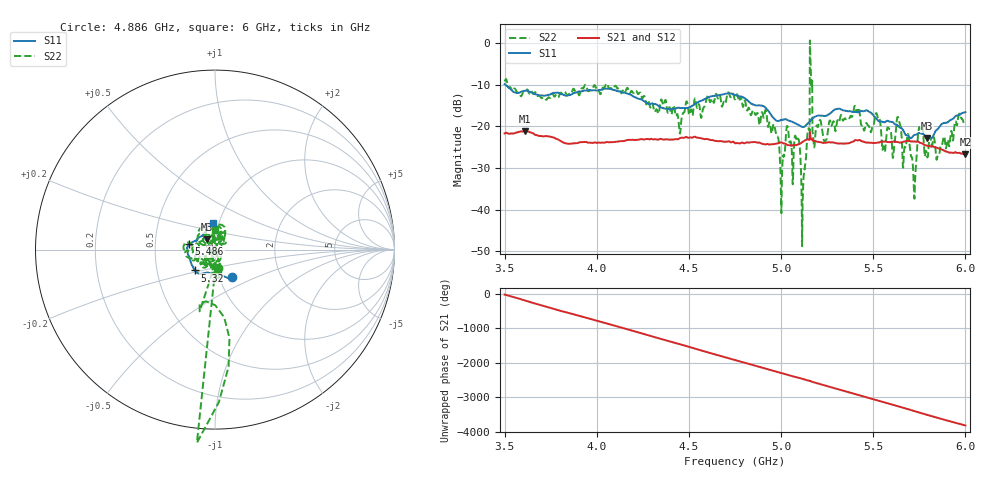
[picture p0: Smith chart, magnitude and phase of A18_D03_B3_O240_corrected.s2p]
! Created with skrf 1.9.0 (http://scikit-rf.org).
# Hz S RI R 50.0
!freq ReS11 ImS11 ReS21 ImS21 ReS12 ImS12 ReS22 ImS22
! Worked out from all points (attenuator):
!   1601 points, 3.5 GHz to 6 GHz, reference 50 ohm
!   highest |S21| = -21.15 dB at 3.611 GHz (marker M1); lowest = -26.7 dB at 6 GHz (marker M2)
!   lowest |S11| = -22.8 dB at 5.791 GHz (marker M3), VSWR 1.16, Z = 45.5 + j5.25 ohm
!   |S11| at or under -10 dB: 3.506 GHz to end of sweep
!   |S22| runs from -48.8 to 0.7 dB; largest |S21 - S12| = 0.001
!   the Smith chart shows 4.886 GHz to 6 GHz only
!   S11 on the Smith chart (normalised r, x): 4.886 GHz: 1.14, -0.36; 5.32 GHz: 0.78, -0.19; 5.486 GHz: 0.75, +0.05; 6 GHz: 0.94, +0.29
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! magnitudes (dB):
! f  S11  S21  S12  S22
! 3.5 GHz  -9.8  -21.7  -21.7  -9.2
! 3.611 GHz  -11.4  -21.2  -21.2  -11.8
! 3.917 GHz  -11.6  -23.8  -23.8  -10.9
! 4.334 GHz  -15.1  -23.2  -23.1  -16.9
! 4.75 GHz  -12.4  -24.0  -23.9  -13.5
! 4.886 GHz  -14.9  -24.0  -23.9  -19.5
! 4.969 GHz  -18.4  -24.2  -24.1  -21.0
! 5.005 GHz  -18.4  -23.9  -23.9  -32.0
! 5.034 GHz  -18.5  -24.5  -24.4  -19.9
! 5.088 GHz  -19.4  -24.4  -24.4  -23.3
! 5.12 GHz  -20.1  -23.6  -23.5  -33.8
! 5.156 GHz  -18.8  -21.3  -21.2  0.7
! 5.167 GHz  -18.2  -23.0  -23.0  -10.0
! 5.183 GHz  -17.7  -23.5  -23.4  -24.1
! 5.32 GHz  -15.8  -24.1  -24.1  -17.9
! 5.486 GHz  -16.6  -23.9  -23.9  -21.3
! 5.584 GHz  -18.8  -23.7  -23.7  -20.4
! 5.639 GHz  -20.1  -23.8  -23.8  -18.4
! 5.72 GHz  -22.1  -23.6  -23.6  -34.7
! 5.755 GHz  -21.6  -23.9  -23.9  -20.5
! 5.791 GHz  -22.8  -24.6  -24.6  -26.6
! 6 GHz  -16.6  -26.7  -26.6  -19.3
